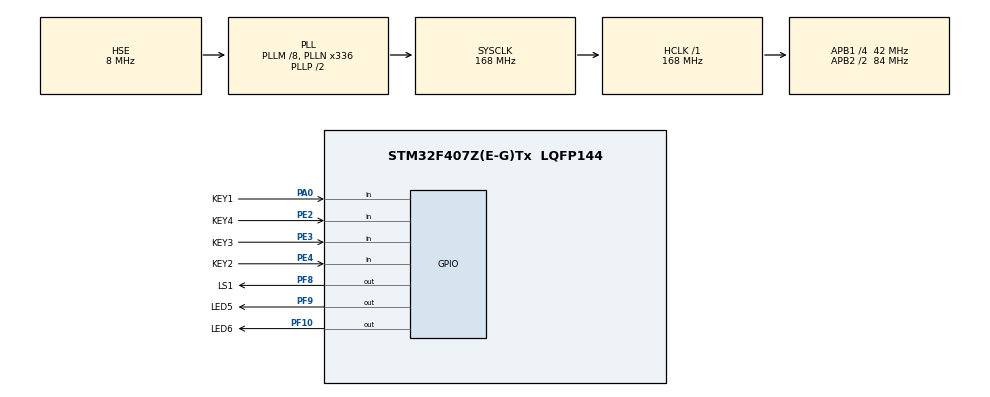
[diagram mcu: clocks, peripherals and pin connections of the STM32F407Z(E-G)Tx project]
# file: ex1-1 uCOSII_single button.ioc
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Mcu.Family=STM32F4
Mcu.Name=STM32F407Z(E-G)Tx
Mcu.Package=LQFP144
NVIC.PriorityGroup=NVIC_PRIORITYGROUP_4
PA0-WKUP.GPIO_Label=KEY1
PA0-WKUP.Signal=GPIO_Input
PC14-OSC32_IN.Mode=LSE-External-Oscillator
PC14-OSC32_IN.Signal=RCC_OSC32_IN
PC15-OSC32_OUT.Mode=LSE-External-Oscillator
PC15-OSC32_OUT.Signal=RCC_OSC32_OUT
PE2.GPIO_Label=KEY4
PE2.Signal=GPIO_Input
PE3.GPIO_Label=KEY3
PE3.Signal=GPIO_Input
PE4.GPIO_Label=KEY2
PE4.Signal=GPIO_Input
PF10.GPIO_Label=LED6
PF10.PinState=GPIO_PIN_SET
PF10.Signal=GPIO_Output
PF8.GPIO_Label=LS1
PF8.PinState=GPIO_PIN_RESET
PF8.Signal=GPIO_Output
PF9.GPIO_Label=LED5
PF9.PinState=GPIO_PIN_SET
PF9.Signal=GPIO_Output
PH0-OSC_IN.Mode=HSE-External-Oscillator
PH0-OSC_IN.Signal=RCC_OSC_IN
PH1-OSC_OUT.Mode=HSE-External-Oscillator
PH1-OSC_OUT.Signal=RCC_OSC_OUT
ProjectManager.HeapSize=0x200
ProjectManager.StackSize=0x400
ProjectManager.TargetToolchain=MDK-ARM V5
RCC.48MHZClocksFreq_Value=84000000
RCC.AHBFreq_Value=168000000
RCC.APB1CLKDivider=RCC_HCLK_DIV4
RCC.APB1Freq_Value=42000000
RCC.APB1TimFreq_Value=84000000
RCC.APB2CLKDivider=RCC_HCLK_DIV2
RCC.APB2Freq_Value=84000000
RCC.APB2TimFreq_Value=168000000
RCC.CortexFreq_Value=21000000
RCC.Cortex_Div=SYSTICK_CLKSOURCE_HCLK_DIV8
RCC.FLatency=FLASH_LATENCY_5
RCC.HCLKFreq_Value=168000000
RCC.HSE_VALUE=8000000
RCC.HSI_VALUE=16000000
RCC.PLLM=8
RCC.PLLN=336
RCC.PLLSourceVirtual=RCC_PLLSOURCE_HSE
RCC.SYSCLKFreq_VALUE=168000000
RCC.SYSCLKSource=RCC_SYSCLKSOURCE_PLLCLK
RCC.VCOOutputFreq_Value=336000000
board=ex1-1 uCOSII_single button

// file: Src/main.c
/**
  ******************************************************************************
  * File Name          : main.c
  * Description        : Main program body
  ******************************************************************************
  *
  * COPYRIGHT(c) 2016 STMicroelectronics
  *
  * Redistribution and use in source and binary forms, with or without modification,
  * are permitted provided that the following conditions are met:
  *   1. Redistributions of source code must retain the above copyright notice,
  *      this list of conditions and the following disclaimer.
  *   2. Redistributions in binary form must reproduce the above copyright notice,
  *      this list of conditions and the following disclaimer in the documentation
  *      and/or other materials provided with the distribution.
  *   3. Neither the name of STMicroelectronics nor the names of its contributors
  *      may be used to endorse or promote products derived from this software
  *      without specific prior written permission.
  *
  * THIS SOFTWARE IS PROVIDED BY THE COPYRIGHT HOLDERS AND CONTRIBUTORS "AS IS"
  * AND ANY EXPRESS OR IMPLIED WARRANTIES, INCLUDING, BUT NOT LIMITED TO, THE
  * IMPLIED WARRANTIES OF MERCHANTABILITY AND FITNESS FOR A PARTICULAR PURPOSE ARE
  * DISCLAIMED. IN NO EVENT SHALL THE COPYRIGHT HOLDER OR CONTRIBUTORS BE LIABLE
  * FOR ANY DIRECT, INDIRECT, INCIDENTAL, SPECIAL, EXEMPLARY, OR CONSEQUENTIAL
  * DAMAGES (INCLUDING, BUT NOT LIMITED TO, PROCUREMENT OF SUBSTITUTE GOODS OR
  * SERVICES; LOSS OF USE, DATA, OR PROFITS; OR BUSINESS INTERRUPTION) HOWEVER
  * CAUSED AND ON ANY THEORY OF LIABILITY, WHETHER IN CONTRACT, STRICT LIABILITY,
  * OR TORT (INCLUDING NEGLIGENCE OR OTHERWISE) ARISING IN ANY WAY OUT OF THE USE
  * OF THIS SOFTWARE, EVEN IF ADVISED OF THE POSSIBILITY OF SUCH DAMAGE.
  *
  ******************************************************************************
  */
#include "main.h"
#include "stm32f4xx_hal.h"
#include "gpio.h"

/* USER CODE BEGIN Includes */
/*****************************************************************************
@File name:
@Description: 按键KEY1开关LED5,LED6
@Author: Harry Wu
@Version: V1.0
@Date: 2016-11-9
@History:
		V1.0: 用STM32CubeMX生成代码,调用HAL库

*****************************************************************************/
#include "MyTypeDef.h"
#include "key.h"
#include "led.h"
#include "ucosii_task.h"
/* USER CODE END Includes */

/* USER CODE BEGIN PV */
/* Private variables ---------------------------------------------------------*/

/* USER CODE END PV */

void SystemClock_Config(void);
void Error_Handler(void);

/* USER CODE BEGIN PFP */
/* Private function prototypes -----------------------------------------------*/
#define SYSCLK 168    //系统时钟
//systick中断初始化
//参数nms: nms 毫秒产生一次中断
void systick_irq_init(u32 nms)
{
	SysTick->LOAD =nms*SYSCLK*1000/8; //设定计数次数
	SysTick->VAL =0;     //重装载（重装载寄存器的值复制到计数器）
	SysTick->CTRL |=0x01<<1; //开systick定时器中断

	NVIC_SetPriority(SysTick_IRQn ,NVIC_EncodePriority(7-2,3,3));  //设置优先级
	//NVIC_EnableIRQ(USART1_IRQn); //外部中断使能（系统中断没有这个使能）
	SysTick->CTRL |=0x01; //开systick定时器
}

/* USER CODE END PFP */

int main(void)
{

  /* USER CODE BEGIN 1 */
	//u8 key;
	INT8U sta;  //任务状态
	//硬件初始化
  /* USER CODE END 1 */

  /* MCU Configuration----------------------------------------------------------*/

  /* Reset of all peripherals, Initializes the Flash interface and the Systick. */
  HAL_Init();

  /* Configure the system clock */
  SystemClock_Config();

  /* Initialize all configured peripherals */
  MX_GPIO_Init();

  /* USER CODE BEGIN 2 */
	BUZZER1 = 1;
	HAL_Delay(500);
	BUZZER1 = 0;
	//OS_CPU_SysTickInit (1000/OS_TICKS_PER_SEC*168*1000/8);  //5ms
	systick_irq_init(1000/OS_TICKS_PER_SEC);
	OSInit();//必须是第一个被调用的ucos API函数
	//创建至少一个任务
	//sta=OSTaskCreate(start_task,NULL,&START_TASK_STK[START_TASK_STK_LEN-1],START_TASK_PRIO);
	sta = OSTaskCreateExt(start_task,NULL,
										&START_TASK_STK[START_TASK_STK_LEN-1],
										START_TASK_PRIO,1234,&START_TASK_STK[0],
										START_TASK_STK_LEN, NULL,
										OS_TASK_OPT_STK_CHK);
	if(sta==OS_ERR_NONE)
	{
		LED5=0;
	}
	else
	{
		LED5=1;
	}

	OSStart(); //开始调度
	//下面如果有代码永远不会执行
  /* USER CODE END 2 */

  /* Infinite loop */
  while (1)
  {

  /* USER CODE BEGIN 3 */
//	key = key_scanf();
//		if(key != NO_KEY)
//		{
//			if(LED5)  //LED是否是灭的
//			{
//				LED5 = 0;  //LED ON
//				LED6 = 0;  //LED ON
//			}
//			else
//			{
//				LED5 = 1;  //LED OFF
//				LED6 = 1;  //LED OFF
//			}
//
//		}
  }
  /* USER CODE END 3 */

}

/** System Clock Configuration
*/
void SystemClock_Config(void)
{

  RCC_OscInitTypeDef RCC_OscInitStruct;
  RCC_ClkInitTypeDef RCC_ClkInitStruct;

    /**Configure the main internal regulator output voltage
    */
  __HAL_RCC_PWR_CLK_ENABLE();

  __HAL_PWR_VOLTAGESCALING_CONFIG(PWR_REGULATOR_VOLTAGE_SCALE1);

    /**Initializes the CPU, AHB and APB busses clocks
    */
  RCC_OscInitStruct.OscillatorType = RCC_OSCILLATORTYPE_HSE;
  RCC_OscInitStruct.HSEState = RCC_HSE_ON;
  RCC_OscInitStruct.PLL.PLLState = RCC_PLL_ON;
  RCC_OscInitStruct.PLL.PLLSource = RCC_PLLSOURCE_HSE;
  RCC_OscInitStruct.PLL.PLLM = 8;
  RCC_OscInitStruct.PLL.PLLN = 336;
  RCC_OscInitStruct.PLL.PLLP = RCC_PLLP_DIV2;
  RCC_OscInitStruct.PLL.PLLQ = 4;
  if (HAL_RCC_OscConfig(&RCC_OscInitStruct) != HAL_OK)
  {
    Error_Handler();
  }

    /**Initializes the CPU, AHB and APB busses clocks
    */
  RCC_ClkInitStruct.ClockType = RCC_CLOCKTYPE_HCLK|RCC_CLOCKTYPE_SYSCLK
                              |RCC_CLOCKTYPE_PCLK1|RCC_CLOCKTYPE_PCLK2;
  RCC_ClkInitStruct.SYSCLKSource = RCC_SYSCLKSOURCE_PLLCLK;
  RCC_ClkInitStruct.AHBCLKDivider = RCC_SYSCLK_DIV1;
  RCC_ClkInitStruct.APB1CLKDivider = RCC_HCLK_DIV4;
  RCC_ClkInitStruct.APB2CLKDivider = RCC_HCLK_DIV2;

  if (HAL_RCC_ClockConfig(&RCC_ClkInitStruct, FLASH_LATENCY_5) != HAL_OK)
  {
    Error_Handler();
  }

    /**Configure the Systick interrupt time
    */
  HAL_SYSTICK_Config(HAL_RCC_GetHCLKFreq()/8000);

    /**Configure the Systick
    */
  HAL_SYSTICK_CLKSourceConfig(SYSTICK_CLKSOURCE_HCLK_DIV8);

  /* SysTick_IRQn interrupt configuration */
  HAL_NVIC_SetPriority(SysTick_IRQn, 0, 0);
}

/* USER CODE BEGIN 4 */
//void SysTick_Handler(void)
//{
//		OSIntEnter();
//    OSTimeTick();     //在实时系统中每个delay的任务依靠时间tick函数来减少TCB中delay项的值，当其减到0时，进入就绪态										//任务调度的时候就会考虑就绪态的任务，所以tick函数应该算所操作系统的核心函数
//    OSIntExit();
//}
/* USER CODE END 4 */

void Error_Handler(void)
{
  while(1)
  {
  }
}

/************************ (C) COPYRIGHT STMicroelectronics *****END OF FILE****/
